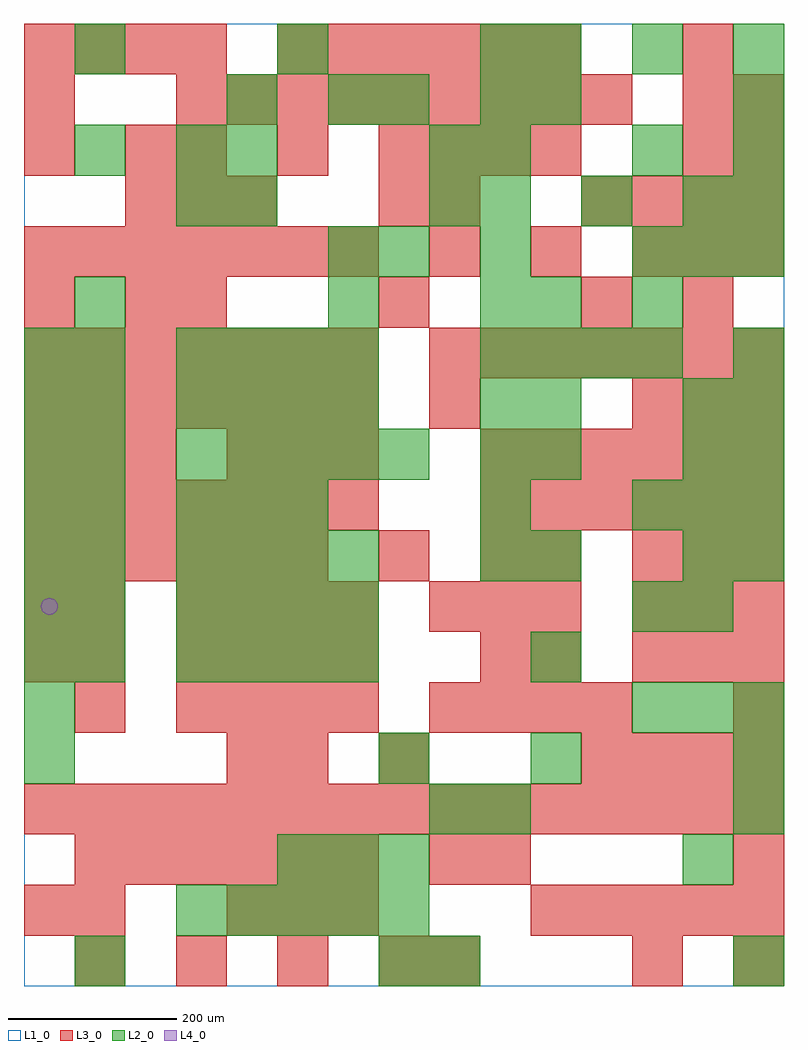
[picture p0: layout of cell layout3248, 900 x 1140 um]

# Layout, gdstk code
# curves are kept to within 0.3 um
import gdstk
lib = gdstk.Library(unit=1e-6, precision=1e-09)
def R(c, l, rs):  # rectangles x0, y0, x1, y1
    for r in rs: c.add(gdstk.rectangle(r[:2], r[2:], *l))
def A(c, l, x, y, w, h, nx, ny, dx, dy):  # array of equal rectangles
    R(c, l, [(x+i*dx, y+j*dy, x+i*dx+w, y+j*dy+h) for i in range(nx) for j in range(ny)])
def P(c, l, *ps):  # polygons
    for p in ps: c.add(gdstk.Polygon(p, *l))
L1_0 = (1, 0)
L2_0 = (2, 0)
L3_0 = (3, 0)
L4_0 = (4, 0)

layout3248 = lib.new_cell('layout3248')
R(layout3248, L1_0, [(0,0,900,1140)])
A(layout3248, L2_0, 180, 60, 60, 60, 5, 2, 60, 540)
A(layout3248, L2_0, 300, 120, 60, 60, 3, 1, 60, 0)
A(layout3248, L2_0, 0, 240, 60, 60, 1, 9, 0, 60)
A(layout3248, L2_0, 600, 240, 60, 60, 1, 4, 0, 120)
A(layout3248, L2_0, 720, 300, 60, 60, 3, 2, 60, 240)
A(layout3248, L2_0, 60, 360, 60, 60, 1, 8, 0, 60)
A(layout3248, L2_0, 180, 360, 60, 60, 4, 3, 60, 60)
A(layout3248, L2_0, 540, 480, 60, 60, 1, 4, 0, 60)
A(layout3248, L2_0, 180, 540, 60, 60, 3, 1, 60, 0)
A(layout3248, L2_0, 840, 600, 60, 60, 1, 3, 0, 60)
A(layout3248, L2_0, 180, 660, 60, 60, 4, 2, 60, 60)
A(layout3248, L2_0, 540, 720, 60, 60, 4, 1, 60, 0)
A(layout3248, L2_0, 720, 840, 60, 60, 3, 1, 60, 0)
A(layout3248, L2_0, 240, 900, 60, 60, 1, 3, 0, 60)
A(layout3248, L2_0, 540, 900, 60, 60, 3, 1, 120, 0)
A(layout3248, L2_0, 840, 900, 60, 60, 1, 3, 0, 60)
A(layout3248, L2_0, 60, 1080, 60, 60, 3, 1, 240, 0)
A(layout3248, L2_0, 600, 1080, 60, 60, 3, 1, 120, 0)
R(layout3248, L2_0, [(60,0,120,60), (420,0,480,60), (480,0,540,60), (840,0,900,60), (780,120,840,180), (480,180,540,240), (540,180,600,240), (840,180,900,240), (420,240,480,300), (840,240,900,300), (720,420,780,480), (780,420,840,480), (780,480,840,540), (840,480,900,540), (780,600,840,660), (600,660,660,720), (780,660,840,720), (360,780,420,840), (540,780,600,840), (600,780,660,840), (720,780,780,840), (360,840,420,900), (420,840,480,900), (540,840,600,900), (180,900,240,960), (480,900,540,960), (60,960,120,1020), (180,960,240,1020), (480,960,540,1020), (540,960,600,1020), (720,960,780,1020), (360,1020,420,1080), (420,1020,480,1080), (540,1020,600,1080), (600,1020,660,1080)])
A(layout3248, L3_0, 60, 0, 60, 60, 4, 1, 120, 0)
A(layout3248, L3_0, 240, 60, 60, 60, 3, 2, 60, 540)
A(layout3248, L3_0, 600, 60, 60, 60, 5, 1, 60, 0)
A(layout3248, L3_0, 60, 120, 60, 60, 6, 1, 60, 0)
A(layout3248, L3_0, 0, 180, 60, 60, 15, 1, 60, 0)
A(layout3248, L3_0, 660, 240, 60, 60, 4, 2, 60, 660)
A(layout3248, L3_0, 60, 300, 60, 60, 1, 3, 0, 60)
A(layout3248, L3_0, 180, 300, 60, 60, 4, 3, 60, 60)
A(layout3248, L3_0, 480, 300, 60, 60, 4, 1, 60, 0)
A(layout3248, L3_0, 720, 360, 60, 60, 3, 3, 60, 60)
A(layout3248, L3_0, 480, 420, 60, 60, 3, 2, 60, 540)
A(layout3248, L3_0, 0, 480, 60, 60, 6, 1, 60, 0)
A(layout3248, L3_0, 0, 540, 60, 60, 7, 2, 60, 120)
A(layout3248, L3_0, 540, 540, 60, 60, 6, 2, 60, 60)
A(layout3248, L3_0, 0, 600, 60, 60, 3, 1, 60, 0)
A(layout3248, L3_0, 720, 660, 60, 60, 3, 1, 60, 0)
A(layout3248, L3_0, 0, 720, 60, 60, 7, 2, 60, 120)
A(layout3248, L3_0, 480, 720, 60, 60, 7, 1, 60, 0)
A(layout3248, L3_0, 180, 780, 60, 60, 3, 1, 240, 0)
A(layout3248, L3_0, 480, 840, 60, 60, 3, 1, 120, 0)
A(layout3248, L3_0, 120, 900, 60, 60, 3, 1, 60, 0)
A(layout3248, L3_0, 180, 960, 60, 60, 3, 1, 120, 0)
A(layout3248, L3_0, 780, 960, 60, 60, 1, 3, 0, 60)
A(layout3248, L3_0, 180, 1020, 60, 60, 9, 1, 60, 0)
A(layout3248, L3_0, 0, 1080, 60, 60, 4, 1, 60, 0)
A(layout3248, L3_0, 300, 1080, 60, 60, 6, 1, 60, 0)
R(layout3248, L3_0, [(480,0,540,60), (720,0,780,60), (840,0,900,60), (0,60,60,120), (60,60,120,120), (480,120,540,180), (540,120,600,180), (840,120,900,180), (240,240,300,300), (300,240,360,300), (420,240,480,300), (840,300,900,360), (0,360,60,420), (540,360,600,420), (600,360,660,420), (0,420,60,480), (420,480,480,540), (540,480,600,540), (600,480,660,540), (480,660,540,720), (0,780,60,840), (120,780,180,840), (780,780,840,840), (780,840,840,900), (840,840,900,900), (420,900,480,960), (480,900,540,960), (0,960,60,1020), (120,960,180,1020), (840,960,900,1020), (0,1020,60,1080), (840,1020,900,1080)])
P(layout3248, L4_0, [(40,450),(39.239,453.827),(37.071,457.071),(33.827,459.239),(30,460),(26.173,459.239),(22.929,457.071),(20.761,453.827),(20,450),(20.761,446.173),(22.929,442.929),(26.173,440.761),(30,440),(33.827,440.761),(37.071,442.929),(39.239,446.173)])

lib.write_gds('layout3248.gds')
